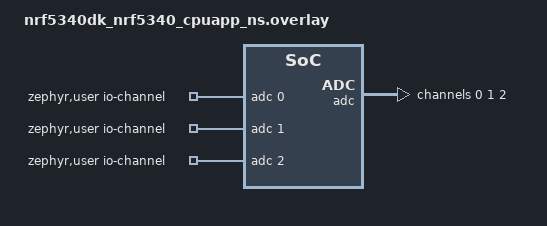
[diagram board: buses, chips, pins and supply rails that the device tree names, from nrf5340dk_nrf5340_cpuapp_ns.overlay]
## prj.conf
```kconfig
#
# Copyright (c) 2018 Nordic Semiconductor
#
# SPDX-License-Identifier: LicenseRef-Nordic-5-Clause
#

# Logger module
CONFIG_LOG=y

# Button and LED library
CONFIG_DK_LIBRARY=y

# ADC library (added on 4.11.)
CONFIG_ADC=y

# Bluetooth LE
CONFIG_BT=y
CONFIG_BT_PERIPHERAL=y
CONFIG_BT_DEVICE_NAME="Nordic_VK"

# Increase stack size for the main thread and System Workqueue
CONFIG_SYSTEM_WORKQUEUE_STACK_SIZE=2048
CONFIG_MAIN_STACK_SIZE=2048
```

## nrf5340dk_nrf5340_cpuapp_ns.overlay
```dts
// To get started, press Ctrl+Space to bring up the completion menu and view the available nodes.

// You can also use the buttons in the sidebar to perform actions on nodes.
// Actions currently available include:

// * Enabling / disabling the node
// * Adding the bus to a bus
// * Removing the node
// * Connecting ADC channels

// For more help, browse the DeviceTree documentation at https://docs.zephyrproject.org/latest/guides/dts/index.html
// You can also visit the nRF DeviceTree extension documentation at https://nrfconnect.github.io/vscode-nrf-connect/devicetree/nrfdevicetree.html


/{
	zephyr,user {
		io-channels = <&adc 0>, <&adc 1>, <&adc 2>;
		status = "okay";
	};
};



&adc {
	status = "okay";
	#address-cells = <1>;
	#size-cells = <0>;

	channel@0 {
		reg = <0>;
		zephyr,gain = "ADC_GAIN_1_6";
		zephyr,reference = "ADC_REF_INTERNAL";
		zephyr,acquisition-time = <ADC_ACQ_TIME_DEFAULT>;
		zephyr,input-positive = <NRF_SAADC_AIN2>; // x = P0.06 // https://docs.nordicsemi.com/bundle/ug_nrf5340_dk/page/UG/dk/hw_analog_pins.html
		zephyr,resolution = <12>;
	};

	channel@1 {
		reg = <1>;
		zephyr,gain = "ADC_GAIN_1_6";
		zephyr,reference = "ADC_REF_INTERNAL";
		zephyr,acquisition-time = <ADC_ACQ_TIME_DEFAULT>;
		zephyr,input-positive = <NRF_SAADC_AIN0>; // y = P0.04
		zephyr,resolution = <12>;
		//zephyr,oversampling = <8>;
	};

	channel@2 {
		reg = <2>;
		zephyr,gain = "ADC_GAIN_1_6";
		zephyr,reference = "ADC_REF_INTERNAL";
		zephyr,acquisition-time = <ADC_ACQ_TIME_DEFAULT>;
		zephyr,input-positive = <NRF_SAADC_AIN1>; // z = P0.05
		zephyr,resolution = <12>;
		//zephyr,oversampling = <8>;
	};


};
```

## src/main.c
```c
/*
 * Copyright (c) 2023 Nordic Semiconductor ASA
 *
 * SPDX-License-Identifier: LicenseRef-Nordic-5-Clause
 */

#include <zephyr/kernel.h>
#include <zephyr/logging/log.h>
#include <zephyr/bluetooth/bluetooth.h>
#include <zephyr/bluetooth/gap.h>
#include <zephyr/bluetooth/uuid.h>
#include <zephyr/bluetooth/conn.h>
#include <dk_buttons_and_leds.h>

#include <inttypes.h>
#include <stddef.h>
#include <stdint.h>
#include <zephyr/sys/printk.h>
#include <zephyr/sys/util.h>
#include <zephyr/device.h>
#include <zephyr/devicetree.h>

#include "my_lbs.h"
#include "adc.h"

static const struct bt_le_adv_param *adv_param = BT_LE_ADV_PARAM(
	(BT_LE_ADV_OPT_CONN |	// og BT_LE_ADV_OPT_CONN, but for compatibility with 2.8.0's "BT_LE_ADV_OPT_CONNECTABLE"
	 BT_LE_ADV_OPT_USE_IDENTITY), /* Connectable advertising and use identity address */
	800, /* Min Advertising Interval 500ms (800*0.625ms) */
	801, /* Max Advertising Interval 500.625ms (801*0.625ms) */
	NULL); /* Set to NULL for undirected advertising */

LOG_MODULE_REGISTER(Lesson4_Exercise2, LOG_LEVEL_INF);

#define DEVICE_NAME CONFIG_BT_DEVICE_NAME
#define DEVICE_NAME_LEN (sizeof(DEVICE_NAME) - 1)

#define RUN_STATUS_LED DK_LED1
#define CON_STATUS_LED DK_LED2
#define USER_LED DK_LED3
#define USER_BUTTON DK_BTN2_MSK // DEFINED BUTTON 2

#define STACKSIZE 1024
#define PRIORITY 7

#define RUN_LED_BLINK_INTERVAL 1000
/* STEP 17 - Define the interval at which you want to send data at */
#define NOTIFY_INTERVAL 100 // 50 was ok, og 5000 = 5s
static bool app_button_state;
static struct k_work adv_work;
/* STEP 15 - Define the data you want to stream over Bluetooth LE */
// static uint32_t app_sensor_value_x = 100; // x_value
// static uint32_t app_sensor_value_y = 0; // y_value
// static uint32_t app_sensor_value_z = 0; // z_value
static uint16_t app_sensor_value_ori = 0; // orientation value

static const struct bt_data ad[] = {
	BT_DATA_BYTES(BT_DATA_FLAGS, (BT_LE_AD_GENERAL | BT_LE_AD_NO_BREDR)),
	BT_DATA(BT_DATA_NAME_COMPLETE, DEVICE_NAME, DEVICE_NAME_LEN),
};

static const struct bt_data sd[] = {
	BT_DATA_BYTES(BT_DATA_UUID128_ALL, BT_UUID_LBS_VAL),
};

static void adv_work_handler(struct k_work *work) {
	int err = bt_le_adv_start(adv_param, ad, ARRAY_SIZE(ad), sd, ARRAY_SIZE(sd));
	if (err) {
		printk("Advertising failed to start (err %d)\n", err);
		return;
	}
	printk("Advertising successfully started\n");
}
static void advertising_start(void) {
	k_work_submit(&adv_work);
}

static void recycled_cb(void) {
	printk("Connection object available from previous conn. Disconnect is complete!\n");
	advertising_start();
}
/* STEP 16 - Define a function to simulate the data */
// static void simulate_data(void)
// {
// 	app_sensor_value_x++;
// 	if (app_sensor_value_x == 200) {
// 		app_sensor_value_x = 100;
// 	}
// }
static void app_led_cb(bool led_state) {
	dk_set_led(USER_LED, led_state);
}

static bool app_button_cb(void) {
	return app_button_state;
}


/* STEP 18.1 - Define the thread function  */
void send_data_thread(void) {
	if (initializeADC() < 0){
		printk("ADC initialization failed at: sending_data_thread()\n");
		return;
	}

	while (1) {
		/* Simulate data */
		// simulate_data();
		struct Measurement m = readADCValue();
		printk("x = %d,  y = %d,  z = %d, orientation value = %d\n",m.x,m.y,m.z,app_sensor_value_ori);

		/* Send notification, the function sends notifications only if a client is subscribed */
		my_lbs_send_sensor_notify(m.x);
		my_lbs_send_sensor_notify(m.y); 
		my_lbs_send_sensor_notify(m.z);
		my_lbs_send_sensor_notify(app_sensor_value_ori);

		k_sleep(K_MSEC(NOTIFY_INTERVAL));
	}
}

static struct my_lbs_cb app_callbacks = {
	.led_cb = app_led_cb,
	.button_cb = app_button_cb,
};

static void button_changed(uint32_t button_state, uint32_t has_changed)
{
	// OLD CODE BELOW
	// if (has_changed & USER_BUTTON) { 
	// 	uint32_t user_button_state = button_state & USER_BUTTON;
	// 	/* STEP 6 - Send indication on a button press */
	// 	my_lbs_send_button_state_indicate(user_button_state);
	// 	app_button_state = user_button_state ? true : false;
	// }
	
	// add +1 to uint16_t app_sensor_value_ori. Remember to check button initialization!
	if (has_changed & button_state & USER_BUTTON) {
		app_sensor_value_ori += 1;
		if (app_sensor_value_ori > 5) {
			app_sensor_value_ori = 0;
		}
	}
}

static void on_connected(struct bt_conn *conn, uint8_t err) {
	if (err) {
		printk("Connection failed (err %u)\n", err);
		return;
	}

	printk("Connected\n");
	dk_set_led_on(CON_STATUS_LED);
}

static void on_disconnected(struct bt_conn *conn, uint8_t reason) {
	printk("Disconnected (reason %u)\n", reason);
	dk_set_led_off(CON_STATUS_LED);
}

struct bt_conn_cb connection_callbacks = {
	.connected = on_connected,
	.disconnected = on_disconnected,
	.recycled = recycled_cb,
};

static int init_button(void) { // BUTTON INITIALIZATION
	int err;
	err = dk_buttons_init(button_changed);
	if (err) {
		printk("Cannot init buttons (err: %d)\n", err);
	}
	return err;
}

int main(void) {
	int blink_status = 0;
	int err;

	LOG_INF("Starting Lesson 4 - Exercise 2 \n");

	err = dk_leds_init();
	if (err) {
		LOG_ERR("LEDs init failed (err %d)\n", err);
		return -1;
	}

	err = init_button(); // SETTING UP BUTTONS ON nRF5340
	if (err) {
		printk("Button init failed (err %d)\n", err);
		return -1;
	}

	err = bt_enable(NULL);
	if (err) {
		LOG_ERR("Bluetooth init failed (err %d)\n", err);
		return -1;
	}
	bt_conn_cb_register(&connection_callbacks);

	err = my_lbs_init(&app_callbacks);
	if (err) {
		printk("Failed to init LBS (err:%d)\n", err);
		return -1;
	}
	LOG_INF("Bluetooth initialized\n");
	k_work_init(&adv_work, adv_work_handler);
	advertising_start();
	for (;;) {
		dk_set_led(RUN_STATUS_LED, (++blink_status) % 2);
		k_sleep(K_MSEC(RUN_LED_BLINK_INTERVAL));
	}
}
/* STEP 18.2 - Define and initialize a thread to send data periodically */
K_THREAD_DEFINE(send_data_thread_id, STACKSIZE, send_data_thread, NULL, NULL, NULL, PRIORITY, 0, 0);
```

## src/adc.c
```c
// COPIED FROM WorkingADCsolution CODE

#include <zephyr/device.h>
#include <zephyr/devicetree.h>
#include <zephyr/drivers/adc.h>
#include <hal/nrf_saadc.h>
#include <zephyr/kernel.h>
#include <zephyr/sys/printk.h>
#include <zephyr/sys/util.h>
#include <zephyr/sys/printk.h>
#include "adc.h"

#if !DT_NODE_EXISTS(DT_PATH(zephyr_user)) || \
	!DT_NODE_HAS_PROP(DT_PATH(zephyr_user), io_channels)
#error "No suitable devicetree overlay specified"
#endif

#define DT_SPEC_AND_COMMA(node_id, prop, idx) \
	ADC_DT_SPEC_GET_BY_IDX(node_id, idx),

static const struct adc_dt_spec adc_channels[] = {
	DT_FOREACH_PROP_ELEM(DT_PATH(zephyr_user), io_channels,
			     DT_SPEC_AND_COMMA)
};



void printDebugInfo(void)
{
   printk("printing first adc_dt_spec structure contents for all channels\n");
   for(int i = 0;i<3;i++)
   {
   printk("adc_dt_spec structure, channel %d = \n",i);
   printk("Device pointer = %p\n",adc_channels[1].dev);
   printk("Channel Id = %d\n",adc_channels[i].channel_id);
   printk("Voltage reference = %d\n",adc_channels[i].vref_mv);
   printk("Resolution = %d\n",adc_channels[i].resolution);
   printk("Oversampling = %d\n",adc_channels[i].oversampling);
   printk("\n\n");
   }

}

int initializeADC(void)
{

    int err;
	printk("DEBUG ADC channels count = %d\n", ARRAY_SIZE(adc_channels)); // DEBUG 4.11.2025

	for (size_t i = 0U; i < ARRAY_SIZE(adc_channels); i++) {
		if (!device_is_ready(adc_channels[i].dev)) {
			printk("ADC controller device not ready\n");
			return -1;
		}

		err = adc_channel_setup_dt(&adc_channels[i]);
		if (err < 0) {
			printk("Could not setup channel #%d (%d)\n", i, err);
			return -1;
		}
	}
    return 0;
}

struct Measurement readADCValue(void)
{
	int16_t buf;
    struct Measurement m;
    struct adc_sequence sequence = {
	  .buffer = &buf,

	  .buffer_size = sizeof(buf),
    };

    // printk("ADC reading:\n");
	for (size_t i = 0U; i < ARRAY_SIZE(adc_channels); i++) 
    {
		int err;
        int32_t val_mv;
        // For debug use... 
		/*
        printk("- %s, channel %d: ",
		       adc_channels[i].dev->name,
		       adc_channels[i].channel_id);
        */

		(void)adc_sequence_init_dt(&adc_channels[i], &sequence);

		err = adc_read(adc_channels[i].dev, &sequence);
		if (err < 0) {
			printk("Could not read (%d)\n", err);
			continue;
		} else {
            if(i==0)
            {
                m.x = val_mv;
            }
            else if (i==1)
            {
                m.y = val_mv;
            }
            else if (i==2)
            {
                m.z = val_mv;
            }           
			//printk("%"PRId16, buf);
		}

		
		val_mv = buf;
		err = adc_raw_to_millivolts_dt(&adc_channels[i],&val_mv);
		if (err < 0) 
        {
			printk(" (value in mV not available)\n");
		} 
        else 
        {
			if(i==0)
            {
                m.x = val_mv;
            }
            else if (i==1)
            {
               m.y = val_mv;
            }
            else if (i==2)
            {
                m.z = val_mv;
            }           
            //printk(" = %"PRId32" mV\n", val_mv);
		}
	}
    return m;
}
```

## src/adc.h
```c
// COPIED FROM WorkingADCsolution CODE

#ifndef ADC_H_KJJ
#define ADC_H_KJJ

struct Measurement
{
   uint16_t x;
   uint16_t y;
   uint16_t z;
};

int initializeADC(void);
struct Measurement readADCValue(void);
void printDebugInfo(void);


#endif
```

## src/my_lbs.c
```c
/*
 * Copyright (c) 2018 Nordic Semiconductor ASA
 *
 * SPDX-License-Identifier: LicenseRef-Nordic-5-Clause
 */

/** @file
 *  @brief LED Button Service (LBS) sample
 */

#include <zephyr/types.h>
#include <stddef.h>
#include <string.h>
#include <errno.h>
#include <zephyr/sys/printk.h>
#include <zephyr/sys/byteorder.h>
#include <zephyr/kernel.h>
#include <zephyr/logging/log.h>
#include <zephyr/bluetooth/bluetooth.h>
#include <zephyr/bluetooth/hci.h>
#include <zephyr/bluetooth/conn.h>
#include <zephyr/bluetooth/uuid.h>
#include <zephyr/bluetooth/gatt.h>

#include "my_lbs.h"

LOG_MODULE_DECLARE(Lesson4_Exercise2);

static bool notify_mysensor_enabled;
static bool indicate_enabled;
static bool button_state;
static struct my_lbs_cb lbs_cb;

/* STEP 4 - Define an indication parameter */
static struct bt_gatt_indicate_params ind_params;

/* STEP 3 - Implement the configuration change callback function */
static void mylbsbc_ccc_cfg_changed(const struct bt_gatt_attr *attr, uint16_t value)
{
	indicate_enabled = (value == BT_GATT_CCC_INDICATE);
}

/* STEP 13 - Define the configuration change callback function for the MYSENSOR characteristic */
static void mylbsbc_ccc_mysensor_cfg_changed(const struct bt_gatt_attr *attr, uint16_t value)
{
	notify_mysensor_enabled = (value == BT_GATT_CCC_NOTIFY);
}

// This function is called when a remote device has acknowledged the indication at its host layer
static void indicate_cb(struct bt_conn *conn, struct bt_gatt_indicate_params *params, uint8_t err)
{
	LOG_DBG("Indication %s\n", err != 0U ? "fail" : "success");
}
static ssize_t write_led(struct bt_conn *conn, const struct bt_gatt_attr *attr, const void *buf,
			 uint16_t len, uint16_t offset, uint8_t flags)
{
	LOG_DBG("Attribute write, handle: %u, conn: %p", attr->handle, (void *)conn);

	if (len != 1U) {
		LOG_DBG("Write led: Incorrect data length");
		return BT_GATT_ERR(BT_ATT_ERR_INVALID_ATTRIBUTE_LEN);
	}

	if (offset != 0) {
		LOG_DBG("Write led: Incorrect data offset");
		return BT_GATT_ERR(BT_ATT_ERR_INVALID_OFFSET);
	}

	if (lbs_cb.led_cb) {
		// Read the received value
		uint8_t val = *((uint8_t *)buf);

		if (val == 0x00 || val == 0x01) {
			// Call the application callback function to update the LED state
			lbs_cb.led_cb(val ? true : false);
		} else {
			LOG_DBG("Write led: Incorrect value");
			return BT_GATT_ERR(BT_ATT_ERR_VALUE_NOT_ALLOWED);
		}
	}

	return len;
}

static ssize_t read_button(struct bt_conn *conn, const struct bt_gatt_attr *attr, void *buf,
			   uint16_t len, uint16_t offset)
{
	// get a pointer to button_state which is passed in the BT_GATT_CHARACTERISTIC() and stored in attr->user_data
	const char *value = attr->user_data;

	LOG_DBG("Attribute read, handle: %u, conn: %p", attr->handle, (void *)conn);

	if (lbs_cb.button_cb) {
		// Call the application callback function to update the get the current value of the button
		button_state = lbs_cb.button_cb();
		return bt_gatt_attr_read(conn, attr, buf, len, offset, value, sizeof(*value));
	}

	return 0;
}

/* LED Button Service Declaration */
BT_GATT_SERVICE_DEFINE(
	my_lbs_svc, BT_GATT_PRIMARY_SERVICE(BT_UUID_LBS),
	/* STEP 1 - Modify the Button characteristic declaration to support indication */
	BT_GATT_CHARACTERISTIC(BT_UUID_LBS_BUTTON, BT_GATT_CHRC_READ | BT_GATT_CHRC_INDICATE,
			       BT_GATT_PERM_READ, read_button, NULL, &button_state),
	/* STEP 2 - Create and add the Client Characteristic Configuration Descriptor */
	BT_GATT_CCC(mylbsbc_ccc_cfg_changed, BT_GATT_PERM_READ | BT_GATT_PERM_WRITE),

	BT_GATT_CHARACTERISTIC(BT_UUID_LBS_LED, BT_GATT_CHRC_WRITE, BT_GATT_PERM_WRITE, NULL,
			       write_led, NULL),
	/* STEP 12 - Create and add the MYSENSOR characteristic and its CCCD  */
	BT_GATT_CHARACTERISTIC(BT_UUID_LBS_MYSENSOR, BT_GATT_CHRC_NOTIFY, BT_GATT_PERM_NONE, NULL,
			       NULL, NULL),

	BT_GATT_CCC(mylbsbc_ccc_mysensor_cfg_changed, BT_GATT_PERM_READ | BT_GATT_PERM_WRITE),

);
/* A function to register application callbacks for the LED and Button characteristics  */
int my_lbs_init(struct my_lbs_cb *callbacks)
{
	if (callbacks) {
		lbs_cb.led_cb = callbacks->led_cb;
		lbs_cb.button_cb = callbacks->button_cb;
	}

	return 0;
}

/* STEP 5 - Define the function to send indications */
int my_lbs_send_button_state_indicate(bool button_state)
{
	if (!indicate_enabled) {
		return -EACCES;
	}
	ind_params.attr = &my_lbs_svc.attrs[2];
	ind_params.func = indicate_cb; // A remote device has ACKed at its host layer (ATT ACK)
	ind_params.destroy = NULL;
	ind_params.data = &button_state;
	ind_params.len = sizeof(button_state);
	return bt_gatt_indicate(NULL, &ind_params);
}

/* STEP 14 - Define the function to send notifications for the MYSENSOR characteristic */
// int my_lbs_send_sensor_notify(uint32_t sensor_value) og
int my_lbs_send_sensor_notify(uint32_t sensor_value) // added two more of (uint32_t sensor_value) to match x,y,z and later orientation
{
	if (!notify_mysensor_enabled) {
		return -EACCES;
	}

	return bt_gatt_notify(NULL, &my_lbs_svc.attrs[7], &sensor_value, sizeof(sensor_value));
	// 	return bt_gatt_notify(NULL, &my_lbs_svc.attrs[7], &sensor_value, sizeof(sensor_value)); og
}
```
